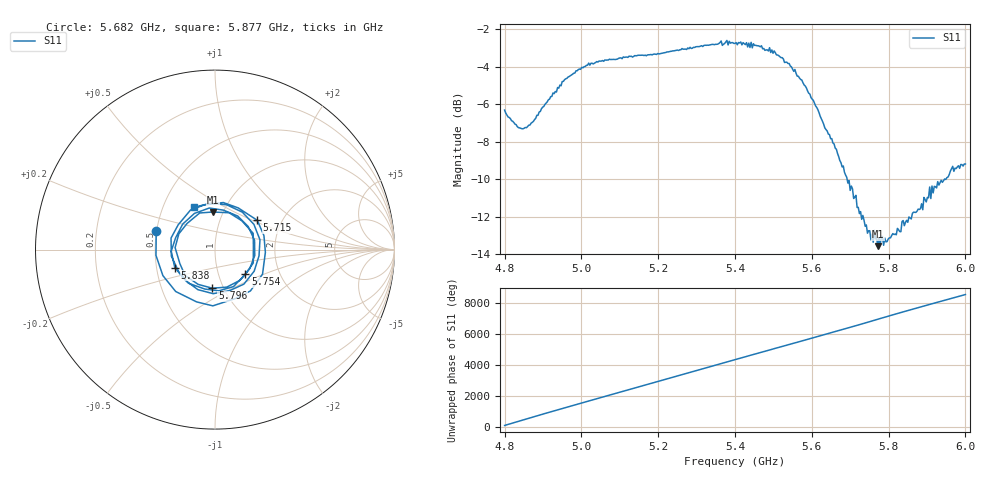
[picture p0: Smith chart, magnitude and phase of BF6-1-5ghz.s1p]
! NanoVNA-App
! Date: 2026-06-16 00:32:40
! Start: 4.8GHz Stop: 6GHz Points: 401
! S-Parameter data: F S11
# Hz S RI R 50
!  Frequency  S11_Real  S11_Imag
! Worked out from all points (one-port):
!   401 points, 4.8 GHz to 6 GHz, reference 50 ohm
!   lowest |S11| = -13.6 dB at 5.772 GHz (marker M1), VSWR 1.53, Z = 44.7 + j19.6 ohm
!   |S11| at or under -10 dB: 5.692 GHz to 5.945 GHz (253.4 MHz wide, 4.36 % of centre); 5.947851 GHz to 5.949298 GHz (1.446 MHz wide, 0.0243 % of centre)
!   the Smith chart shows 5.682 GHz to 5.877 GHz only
!   S11 on the Smith chart (normalised r, x): 5.682 GHz: 0.50, +0.12; 5.715 GHz: 1.50, +0.53; 5.754 GHz: 1.34, -0.39; 5.796 GHz: 0.89, -0.40; 5.838 GHz: 0.62, -0.13; 5.877 GHz: 0.71, +0.36
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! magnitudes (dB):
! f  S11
! 4.8 GHz  -6.3
! 4.833 GHz  -7.2
! 4.854 GHz  -7.2
! 4.875 GHz  -6.9
! 4.95 GHz  -4.8
! 5.013 GHz  -3.9
! 5.1 GHz  -3.5
! 5.25 GHz  -3.1
! 5.4 GHz  -2.8
! 5.496 GHz  -3.1
! 5.55 GHz  -4.1
! 5.58 GHz  -5.0
! 5.61 GHz  -6.1
! 5.658 GHz  -8.1
! 5.682 GHz  -9.3
! 5.7 GHz  -10.6
! 5.715 GHz  -10.9
! 5.724 GHz  -11.8
! 5.754 GHz  -13.2
! 5.772 GHz  -13.6
! 5.796 GHz  -13.3
! 5.838 GHz  -12.2
! 5.85 GHz  -12.3
! 5.877 GHz  -11.6
! 5.913 GHz  -10.4
! 5.949 GHz  -10.0
! 5.967 GHz  -9.3
! 6 GHz  -9.2
